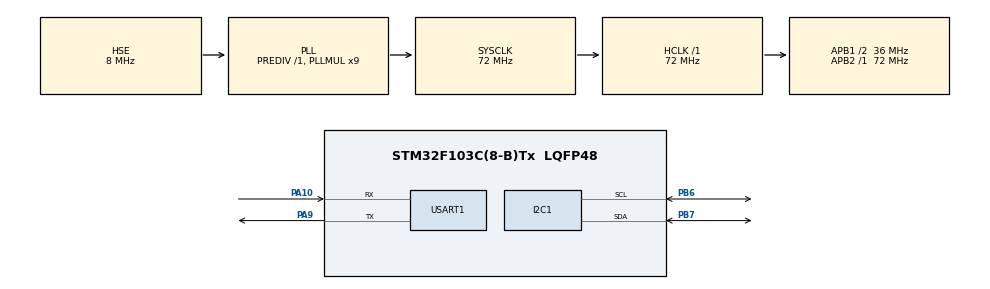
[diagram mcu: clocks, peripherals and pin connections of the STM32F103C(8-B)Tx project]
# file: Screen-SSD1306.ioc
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I2C1.I2C_Mode=I2C_Fast
Mcu.Family=STM32F1
Mcu.Name=STM32F103C(8-B)Tx
Mcu.Package=LQFP48
NVIC.PriorityGroup=NVIC_PRIORITYGROUP_4
NVIC.USART1_IRQn=true\:0\:0\:false\:false\:true\:true\:true
PA10.Mode=Asynchronous
PA10.Signal=USART1_RX
PA9.Mode=Asynchronous
PA9.Signal=USART1_TX
PB6.Mode=I2C
PB6.Signal=I2C1_SCL
PB7.Mode=I2C
PB7.Signal=I2C1_SDA
PD0-OSC_IN.Mode=HSE-External-Oscillator
PD0-OSC_IN.Signal=RCC_OSC_IN
PD1-OSC_OUT.Mode=HSE-External-Oscillator
PD1-OSC_OUT.Signal=RCC_OSC_OUT
ProjectManager.HeapSize=0x200
ProjectManager.StackSize=0x400
ProjectManager.TargetToolchain=MDK-ARM V5
RCC.AHBFreq_Value=72000000
RCC.APB1CLKDivider=RCC_HCLK_DIV2
RCC.APB1Freq_Value=36000000
RCC.APB1TimFreq_Value=72000000
RCC.APB2Freq_Value=72000000
RCC.APB2TimFreq_Value=72000000
RCC.HCLKFreq_Value=72000000
RCC.PLLMUL=RCC_PLL_MUL9
RCC.PLLSourceVirtual=RCC_PLLSOURCE_HSE
RCC.SYSCLKFreq_VALUE=72000000
RCC.SYSCLKSource=RCC_SYSCLKSOURCE_PLLCLK
RCC.USBFreq_Value=72000000
USART1.VirtualMode=VM_ASYNC
VP_SYS_VS_ND.Mode=No_Debug
board=custom

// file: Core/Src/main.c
/* USER CODE BEGIN Header */
/**
  ******************************************************************************
  * @file           : main.c
  * @brief          : Main program body
  ******************************************************************************
  * @attention
  *
  * <h2><center>&copy; Copyright (c) 2021 STMicroelectronics.
  * All rights reserved.</center></h2>
  *
  * This software component is licensed by ST under BSD 3-Clause license,
  * the "License"; You may not use this file except in compliance with the
  * License. You may obtain a copy of the License at:
  *                        opensource.org/licenses/BSD-3-Clause
  *
  ******************************************************************************
  */
/* USER CODE END Header */

#include "main.h"
#include "i2c.h"
#include "usart.h"
#include "gpio.h"

/* USER CODE BEGIN PV */
uint8_t OLED_Device_Address = 0x78;
uint8_t Frame[1024];
/* USER CODE END PV */

void SystemClock_Config(void);
/* USER CODE BEGIN PFP */
void OLED_WriteCmd(uint8_t);
void OLED_WriteData(uint8_t);
void OLED_Init(void);
void OLED_Clear(void);
void OLED_SetPos(uint8_t, uint8_t);
void OLED_ON(void);
void OLED_OFF(void);
//Split Bottom/Top
void Put_Frame(void);
/* USER CODE END PFP */

/* USER CODE BEGIN 0 */
void OLED_WriteCmd(uint8_t cmd)
{
	HAL_I2C_Mem_Write(&hi2c1, OLED_Device_Address, 0x00, I2C_MEMADD_SIZE_8BIT, &cmd, 1, 1000);
}

void OLED_WriteData(uint8_t data)
{
	HAL_I2C_Mem_Write(&hi2c1, OLED_Device_Address, 0x40, I2C_MEMADD_SIZE_8BIT, &data, 1, 1000);
}

void OLED_Init(void)
{
	OLED_WriteCmd(0xAE);	//Disable screen
	OLED_WriteCmd(0xA4);	//Set normal display(using dot data)
	OLED_WriteCmd(0xA6);	//Set normal output
	OLED_WriteCmd(0x20);	//Set addressing mode		-\[0]
	OLED_WriteCmd(0x02);	//Set addressing mode  Page -\[1]
	OLED_WriteCmd(0x81);	//Set contrast		-\[0]
	OLED_WriteCmd(0x7F);	//Set contrast	7F  -/[1]
	OLED_WriteCmd(0xD3);	//Set offset(up)		-\[0]
	OLED_WriteCmd(0x00);	//Set offset(up)	0   -/[1]
	OLED_WriteCmd(0x2E);	//Stop roll
	OLED_WriteCmd(0xA8);	//Set MUX num(display row)	-\[0]
	OLED_WriteCmd(0x3F);	//Set MUX num(display row)	-/[1]
	OLED_WriteCmd(0xA1);	//Set Left-Right reverse off
	OLED_WriteCmd(0xC8);	//Set Up-Down reverse off
	OLED_WriteCmd(0xD5);	//Set clock		-\[0]
	OLED_WriteCmd(0x80);	//Set clock		-/[1]
	OLED_WriteCmd(0x8D);	//Start power	-\[0]
	OLED_WriteCmd(0x14);	//Start power	-/[1]
	OLED_WriteCmd(0xAF);	//Enable screen

	OLED_Clear();
}

void OLED_Clear(void)
{
	for(uint8_t i = 0; i < 8; i++)
	{
		OLED_WriteCmd(0xb0+i);
		OLED_WriteCmd(0x00);
		OLED_WriteCmd(0x10);
		for(uint8_t j = 0; j < 128; j++)
		{
			OLED_WriteData(0);
		}
	}
}

void OLED_SetPos(uint8_t x, uint8_t y)
{
	OLED_WriteCmd(0xb0 + y);
	OLED_WriteCmd((x & 0xF0) >> 4 | 0x10);
	OLED_WriteCmd((x & 0x0F));
}

void OLED_ON(void)
{
	OLED_WriteCmd(0x8D);
	OLED_WriteCmd(0x14);
	OLED_WriteCmd(0xAF);
}

void OLED_OFF(void)
{
	OLED_WriteCmd(0x8D);
	OLED_WriteCmd(0x10);
	OLED_WriteCmd(0xAE);
}

void Put_Frame(void)
{
	OLED_WriteCmd(0x20);
	OLED_WriteCmd(0x00);

	OLED_WriteCmd(0x21);
	OLED_WriteCmd(0x00);
	OLED_WriteCmd(0x7F);

	OLED_WriteCmd(0x22);
	OLED_WriteCmd(0x00);
	OLED_WriteCmd(0x07);
	for(uint16_t i = 0; i < 1024; i++)
	{
		OLED_WriteData(Frame[i]);
	}
}
/* USER CODE END 0 */

int main(void)
{

  /* MCU Configuration--------------------------------------------------------*/

  /* Reset of all peripherals, Initializes the Flash interface and the Systick. */
  HAL_Init();

  /* Configure the system clock */
  SystemClock_Config();

  /* Initialize all configured peripherals */
  MX_GPIO_Init();
  MX_I2C1_Init();
  MX_USART1_UART_Init();
  /* USER CODE BEGIN 2 */
  OLED_Init();
  HAL_UART_Receive_IT(&huart1, Frame, 1024);
  /* USER CODE END 2 */

  /* Infinite loop */
  while (1)
  {

  }
}

void SystemClock_Config(void)
{
  RCC_OscInitTypeDef RCC_OscInitStruct = {0};
  RCC_ClkInitTypeDef RCC_ClkInitStruct = {0};

  /** Initializes the CPU, AHB and APB busses clocks
  */
  RCC_OscInitStruct.OscillatorType = RCC_OSCILLATORTYPE_HSE;
  RCC_OscInitStruct.HSEState = RCC_HSE_ON;
  RCC_OscInitStruct.HSEPredivValue = RCC_HSE_PREDIV_DIV1;
  RCC_OscInitStruct.HSIState = RCC_HSI_ON;
  RCC_OscInitStruct.PLL.PLLState = RCC_PLL_ON;
  RCC_OscInitStruct.PLL.PLLSource = RCC_PLLSOURCE_HSE;
  RCC_OscInitStruct.PLL.PLLMUL = RCC_PLL_MUL9;
  if (HAL_RCC_OscConfig(&RCC_OscInitStruct) != HAL_OK)
  {
    Error_Handler();
  }
  /** Initializes the CPU, AHB and APB busses clocks
  */
  RCC_ClkInitStruct.ClockType = RCC_CLOCKTYPE_HCLK|RCC_CLOCKTYPE_SYSCLK
                              |RCC_CLOCKTYPE_PCLK1|RCC_CLOCKTYPE_PCLK2;
  RCC_ClkInitStruct.SYSCLKSource = RCC_SYSCLKSOURCE_PLLCLK;
  RCC_ClkInitStruct.AHBCLKDivider = RCC_SYSCLK_DIV1;
  RCC_ClkInitStruct.APB1CLKDivider = RCC_HCLK_DIV2;
  RCC_ClkInitStruct.APB2CLKDivider = RCC_HCLK_DIV1;

  if (HAL_RCC_ClockConfig(&RCC_ClkInitStruct, FLASH_LATENCY_2) != HAL_OK)
  {
    Error_Handler();
  }
}

void Error_Handler(void)
{
}

/************************ (C) COPYRIGHT STMicroelectronics *****END OF FILE****/
